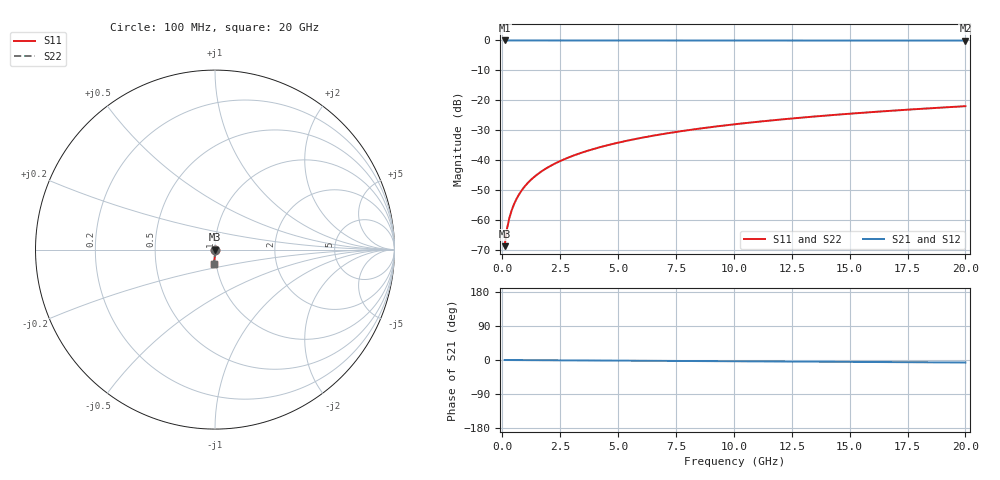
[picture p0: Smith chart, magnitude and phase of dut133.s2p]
! Touchstone file exported from HFSS 2026.1.0
!  File:  C:/ffzhzh/LocalFiles/Ansys_Project_Files/temp_train_TSV_133_1782990200_40604.aedt
!  Generated:  07:04:29 PM Jul  2, 2026
!  Design:  TSV
!  Project:  temp_train_TSV_133_1782990200_40604
! Variables:
!  h_bsmrdl = 2um
!  h_ox = 20um
!  h_rdl = 5um
!  h_sub = 50.04um
!  h_tmrdl = 5um
!  h_tsv = 50.04um
!  h_via = 3um
!  l_bsmrdl = 300um
!  l_sub = 416.08um
!  l_tmrdl = 200um
!  m_sub = 200um
!  pitch = 18.55um
!  r_tsv = 8.04um
!  s_tmrdl = 10um
!  w_bsmrdl = 18um
!  w_sub = 500um
!  w_tmrdl = 12um
!  x_tsv_center1 = 206um
!  x_tsv_center2 = 524um
!  x_tsv_center3 = 736um
!  x_tsv_center4 = 1054um
!  x_tsv_center5 = 1266um
!  x_tsv_center6 = 1584um
# GHz S MA R 50.000000
! Terminal data exported
! Port[1] = TSV1_1_T1
! Port[2] = TSV1_1_T2
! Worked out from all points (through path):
!   200 points, 100 MHz to 20 GHz, reference 50 ohm
!   highest |S21| = 0.00 dB at 100 MHz (marker M1); lowest = 0.0 dB at 20 GHz (marker M2)
!   lowest |S11| = -68.6 dB at 100 MHz (marker M3), VSWR 1.00, Z = 50 - j0.0344 ohm
!   |S11| at or under -10 dB: start of sweep to end of sweep
!   |S22| runs from -68.6 to -21.9 dB; largest |S21 - S12| = 2.2e-15
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0.1  0.0003718 -67.7  0.9999 -0.0  0.9999 -0.0  0.0003718 -67.7
! Gamma 0 0 0 0
! Port Impedance 50 0 50 0
0.2  0.0007148 -76.8  0.9998 -0.1  0.9998 -0.1  0.0007148 -76.8
0.3  0.001077 -79.7  0.9998 -0.1  0.9998 -0.1  0.001077 -79.7
0.4  0.001452 -81.2  0.9998 -0.1  0.9998 -0.1  0.001452 -81.2
0.5  0.001837 -82.1  0.9997 -0.2  0.9997 -0.2  0.001837 -82.1
0.7  0.002621 -83.5  0.9997 -0.2  0.9997 -0.2  0.002621 -83.5
0.8  0.003016 -84.0  0.9997 -0.3  0.9997 -0.3  0.003016 -84.0
1  0.00381 -84.9  0.9996 -0.3  0.9996 -0.3  0.00381 -84.9
1.2  0.004604 -85.6  0.9996 -0.4  0.9996 -0.4  0.004604 -85.6
1.4  0.005398 -86.2  0.9996 -0.5  0.9996 -0.5  0.005398 -86.2
1.7  0.006588 -86.8  0.9995 -0.6  0.9995 -0.6  0.006588 -86.8
2  0.007777 -87.3  0.9995 -0.7  0.9995 -0.7  0.007777 -87.3
2.7  0.01056 -88.1  0.9994 -0.9  0.9994 -0.9  0.01056 -88.1
3.5  0.01374 -88.7  0.9993 -1.2  0.9993 -1.2  0.01374 -88.7
4.2  0.01654 -89.1  0.9992 -1.4  0.9992 -1.4  0.01654 -89.1
5  0.01975 -89.6  0.9991 -1.7  0.9991 -1.7  0.01975 -89.6
6.8  0.02699 -90.4  0.9988 -2.3  0.9988 -2.3  0.02699 -90.4
8.3  0.03304 -91.1  0.9985 -2.8  0.9985 -2.8  0.03304 -91.1
10.1  0.04031 -91.8  0.9981 -3.4  0.9981 -3.4  0.04031 -91.8
13.4  0.05362 -93.1  0.9973 -4.4  0.9973 -4.4  0.05362 -93.1
16.7  0.0669 -94.3  0.9964 -5.5  0.9964 -5.5  0.0669 -94.3
20  0.08017 -95.5  0.9952 -6.6  0.9952 -6.6  0.08017 -95.5
